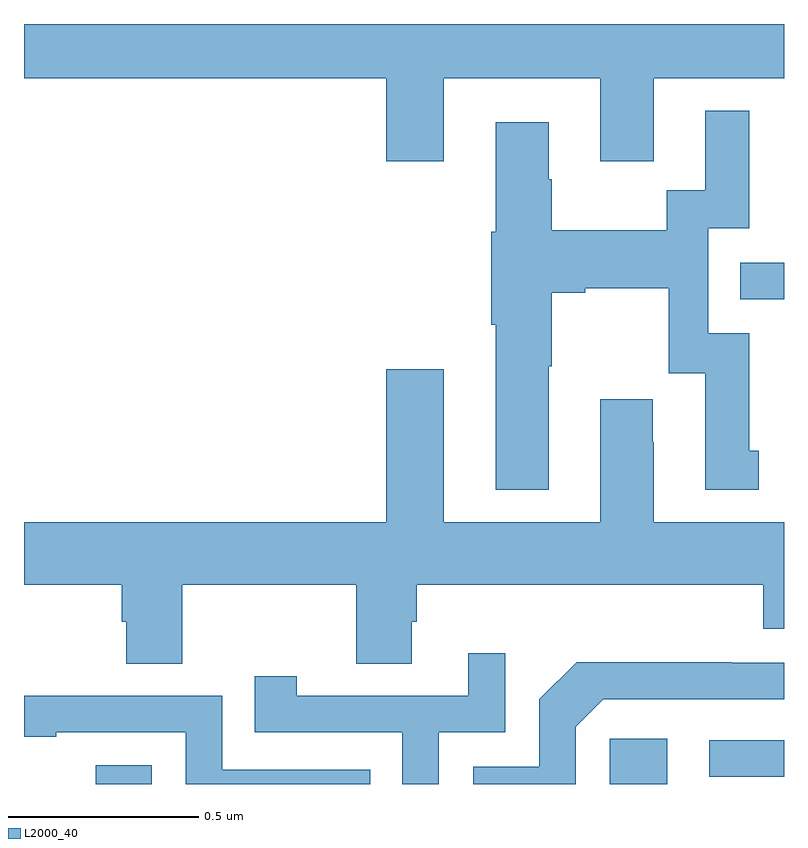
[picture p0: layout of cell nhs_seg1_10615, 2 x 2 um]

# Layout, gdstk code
import gdstk
lib = gdstk.Library(unit=1e-6, precision=1e-09)
def R(c, l, rs):  # rectangles x0, y0, x1, y1
    for r in rs: c.add(gdstk.rectangle(r[:2], r[2:], *l))
def P(c, l, *ps):  # polygons
    for p in ps: c.add(gdstk.Polygon(p, *l))
L2000_40 = (2000, 40)

nhs_seg1_10615 = lib.new_cell('nhs_seg1_10615')
R(nhs_seg1_10615, L2000_40, [(243.189,559.199,243.336,559.249), (244.542,559.199,244.693,559.318), (244.803,559.218,245,559.314), (244.885,560.475,245,560.571)])
P(nhs_seg1_10615, L2000_40, [(244.105,561.056),(244.517,561.056),(244.517,560.838),(244.657,560.838),(244.657,561.056),(245,561.056),(245,561.199),(243,561.199),(243,561.056),(243.953,561.056),(243.953,560.838),(244.105,560.838)],
  [(244.381,560.299),(244.389,560.299),(244.389,560.492),(244.477,560.492),(244.477,560.504),(244.697,560.504),(244.697,560.28),(244.793,560.28),(244.793,559.974),(244.933,559.974),(244.933,560.076),(244.909,560.076),(244.909,560.385),(244.8,560.385),(244.8,560.661),(244.909,560.661),(244.909,560.971),(244.793,560.971),(244.793,560.762),(244.692,560.762),(244.692,560.656),(244.389,560.656),(244.389,560.79),(244.381,560.79),(244.381,560.941),(244.241,560.941),(244.241,560.652),(244.229,560.652),(244.229,560.408),(244.241,560.408),(244.241,559.973),(244.381,559.973)],
  [(243.417,559.724),(243.874,559.724),(243.874,559.516),(244.021,559.516),(244.021,559.626),(244.034,559.626),(244.034,559.724),(244.946,559.724),(244.946,559.607),(245,559.607),(245,559.888),(244.657,559.888),(244.657,560.099),(244.654,560.099),(244.654,560.212),(244.517,560.212),(244.517,559.888),(244.105,559.888),(244.105,560.29),(243.953,560.29),(243.953,559.888),(243,559.888),(243,559.724),(243.257,559.724),(243.257,559.626),(243.269,559.626),(243.269,559.516),(243.417,559.516)],
  [(244.092,559.335),(244.266,559.335),(244.266,559.543),(244.169,559.543),(244.169,559.431),(243.718,559.431),(243.718,559.483),(243.607,559.483),(243.607,559.335),(243.996,559.335),(243.996,559.199),(244.092,559.199)],
  [(244.452,559.35),(244.524,559.422),(245,559.422),(245,559.518),(244.862,559.518),(244.862,559.52),(244.454,559.52),(244.356,559.422),(244.356,559.245),(244.182,559.245),(244.182,559.199),(244.452,559.199)],
  [(243.911,559.236),(243.522,559.236),(243.522,559.431),(243,559.431),(243,559.323),(243.085,559.323),(243.085,559.335),(243.426,559.335),(243.426,559.199),(243.911,559.199)])

lib.write_gds('nhs_seg1_10615.gds')
